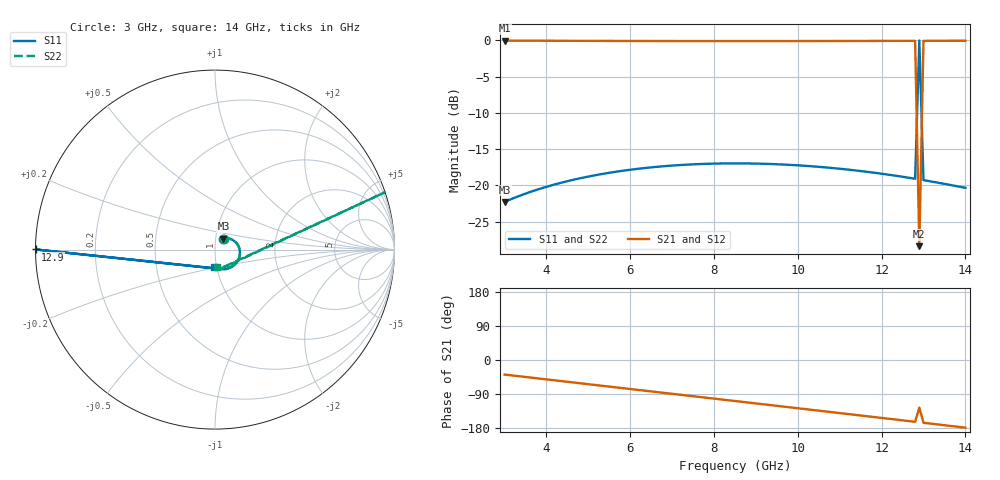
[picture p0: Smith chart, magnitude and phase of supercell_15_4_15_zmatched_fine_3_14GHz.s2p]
! Touchstone file exported from HFSS 2026.1.0
!  Generated:  01:55:58 PM Aug 24, 2026
!  Design:  HFSSDesign_Supercell_15_4_15_stub_length
!  Project:  15-4-15_super_cell_cascade_validation
!  Setup:  Setup1
!  Solution:  Sweep_15_4_15_fine
! Variables:
!  stub_length = 8.34um
# GHz S MA R 50.000000
! Terminal data exported
! Port[1] = Port1
! Port[2] = Port2
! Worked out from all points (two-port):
!   111 points, 3 GHz to 14 GHz, reference 50 ohm
!   highest |S21| = -0.03 dB at 3 GHz (marker M1); lowest = -28.4 dB at 12.9 GHz (marker M2)
!   |S21| within 3 dB of the highest: start of sweep to 12.81 GHz; 12.99 GHz to end of sweep
!   lowest |S11| = -22.3 dB at 3 GHz (marker M3), VSWR 1.17, Z = 54.5 + j6.66 ohm
!   |S11| at or under -10 dB: start of sweep to 12.85 GHz; 12.95 GHz to end of sweep
!   |S22| runs from -22.3 to 0.0 dB; largest |S21 - S12| = 6.6e-05
!   S11 on the Smith chart (normalised r, x): 3 GHz: 1.09, +0.13; 12.9 GHz: 0.00, +0.00; 14 GHz: 0.97, -0.19
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3  0.07685 52.3  0.997 -38.4  0.997 -38.4  0.07685 50.9
! Gamma 0 2632.5463282991 0 2635.08282149548
! Port Impedance 50 0 50 0
3.5  0.08772 45.6  0.9961 -44.8  0.9961 -44.8  0.08772 44.8
4  0.09775 38.9  0.9952 -51.2  0.9952 -51.2  0.09775 38.7
4.9  0.1135 27.1  0.9935 -62.6  0.9935 -62.6  0.1135 27.7
5.4  0.1208 20.6  0.9927 -69.0  0.9927 -69.0  0.1208 21.5
5.8  0.1259 15.3  0.992 -74.0  0.992 -74.0  0.1259 16.6
6.3  0.1313 8.8  0.9913 -80.4  0.9913 -80.4  0.1313 10.4
6.7  0.1348 3.6  0.9909 -85.4  0.9909 -85.4  0.1348 5.5
7.1  0.1376 -1.6  0.9905 -90.5  0.9905 -90.5  0.1376 0.6
7.6  0.1401 -8.1  0.9901 -96.9  0.9901 -96.9  0.1401 -5.6
8  0.1413 -13.3  0.99 -101.9  0.99 -101.9  0.1413 -10.5
8.5  0.1418 -19.9  0.9899 -108.3  0.9899 -108.3  0.1418 -16.6
9.4  0.1402 -31.6  0.9901 -119.7  0.9901 -119.7  0.1402 -27.7
9.9  0.138 -38.2  0.9904 -126.0  0.9904 -126.0  0.138 -33.9
10.4  0.1349 -44.7  0.9909 -132.4  0.9909 -132.4  0.1349 -40.1
11.3  0.1275 -56.6  0.9918 -143.9  0.9918 -143.9  0.1275 -51.2
12.2  0.1181 -68.5  0.993 -155.4  0.993 -155.4  0.1181 -62.3
12.8  0.1111 -76.5  0.9938 -163.1  0.9938 -163.1  0.1111 -69.7
12.9  0.9998 180.0  0.03806 -125.7  0.03806 -125.7  1 18.7
13  0.1086 -79.2  0.9941 -165.7  0.9941 -165.7  0.1086 -72.2
13.5  0.1024 -85.8  0.9948 -172.1  0.9947 -172.1  0.1024 -78.4
14  0.0961 -92.5  0.9954 -178.5  0.9953 -178.5  0.0961 -84.6
